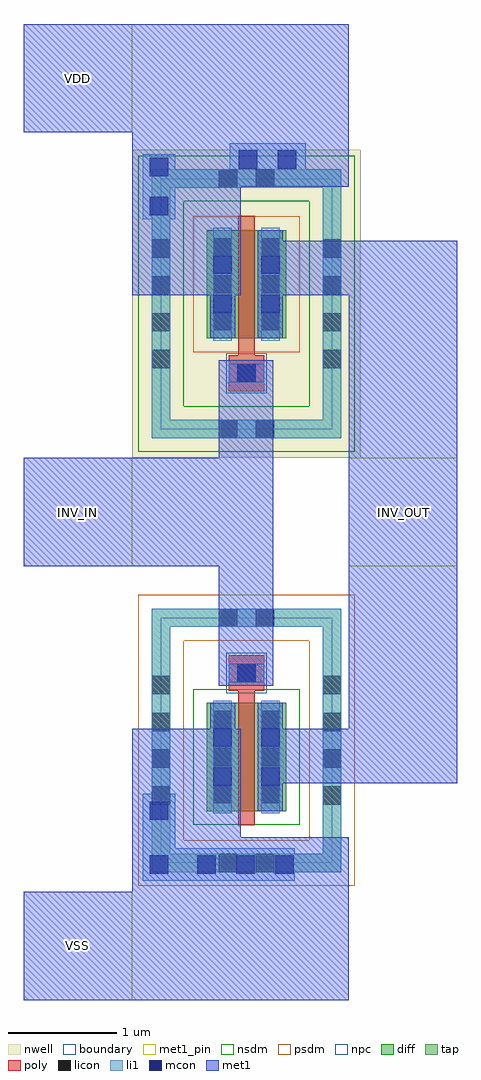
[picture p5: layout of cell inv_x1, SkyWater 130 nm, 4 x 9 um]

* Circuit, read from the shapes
.subckt inv_x1 INV_IN INV_OUT VDD VSS
XM1 INV_OUT INV_IN VSS VSS sky130_fd_pr__nfet_01v8 w=1 l=0.15
XM2 INV_OUT INV_IN VDD VDD sky130_fd_pr__pfet_01v8 w=1 l=0.15
.ends

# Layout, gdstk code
import gdstk
lib = gdstk.Library(unit=1e-6, precision=1e-09)
def R(c, l, rs):  # rectangles x0, y0, x1, y1
    for r in rs: c.add(gdstk.rectangle(r[:2], r[2:], *l))
def A(c, l, x, y, w, h, nx, ny, dx, dy):  # array of equal rectangles
    R(c, l, [(x+i*dx, y+j*dy, x+i*dx+w, y+j*dy+h) for i in range(nx) for j in range(ny)])
nwell = (64, 20)
diff = (65, 20)
tap = (65, 44)
poly = (66, 20)
licon = (66, 44)
li1 = (67, 20)
mcon = (67, 44)
met1_pin = (68, 16)
met1 = (68, 20)
nsdm = (93, 44)
psdm = (94, 20)
npc = (95, 20)
boundary = (235, 4)

sky130_fd_pr__nfet_01v8_ = lib.new_cell('sky130_fd_pr__nfet_01v8_64Z3AY')
R(sky130_fd_pr__nfet_01v8_, diff, [(-0.365,-0.655,0.365,0.345)])
R(sky130_fd_pr__nfet_01v8_, tap, [(-0.875,-1.215,0.875,-1.045), (-0.875,-1.045,-0.705,1.045), (0.705,-1.045,0.875,1.045), (-0.875,1.045,0.875,1.215)])
R(sky130_fd_pr__nfet_01v8_, poly, [(-0.075,-0.785,0.075,0.455), (-0.165,0.455,0.165,0.785)])
A(sky130_fd_pr__nfet_01v8_, licon, -0.875, -0.595, 0.17, 0.17, 1, 4, 0, 0.34)
A(sky130_fd_pr__nfet_01v8_, licon, 0.705, -0.595, 0.17, 0.17, 1, 4, 0, 0.34)
A(sky130_fd_pr__nfet_01v8_, licon, -0.305, -0.58, 0.17, 0.17, 1, 3, 0, 0.34)
A(sky130_fd_pr__nfet_01v8_, licon, 0.135, -0.58, 0.17, 0.17, 1, 3, 0, 0.34)
R(sky130_fd_pr__nfet_01v8_, licon, [(-0.255,-1.215,-0.085,-1.045), (0.085,-1.215,0.255,-1.045), (-0.085,0.535,0.085,0.705), (-0.255,1.045,-0.085,1.215), (0.085,1.045,0.255,1.215)])
R(sky130_fd_pr__nfet_01v8_, li1, [(-0.875,-1.215,0.875,-1.045), (-0.875,-1.045,-0.705,1.045), (0.705,-1.045,0.875,1.045), (-0.305,-0.675,-0.135,0.365), (0.135,-0.675,0.305,0.365), (-0.165,0.535,0.165,0.705), (-0.875,1.045,0.875,1.215)])
R(sky130_fd_pr__nfet_01v8_, mcon, [(-0.305,-0.42,-0.135,-0.25), (0.135,-0.42,0.305,-0.25), (-0.305,-0.06,-0.135,0.11), (0.135,-0.06,0.305,0.11), (-0.085,0.535,0.085,0.705)])
R(sky130_fd_pr__nfet_01v8_, met1, [(-0.335,-0.655,-0.105,0.345), (0.105,-0.655,0.335,0.345), (-0.145,0.505,0.145,0.735)])
R(sky130_fd_pr__nfet_01v8_, nsdm, [(-0.49,-0.78,0.49,0.47)])
R(sky130_fd_pr__nfet_01v8_, psdm, [(-1,-1.34,1,-0.92), (-1,-0.92,-0.58,0.92), (0.58,-0.92,1,0.92), (-1,0.92,1,1.34)])
R(sky130_fd_pr__nfet_01v8_, npc, [(-0.185,0.435,0.185,0.805)])
R(sky130_fd_pr__nfet_01v8_, boundary, [(-0.79,-1.13,0.79,1.13)])

sky130_fd_pr__pfet_01v8_ = lib.new_cell('sky130_fd_pr__pfet_01v8_LGS3BL')
R(sky130_fd_pr__pfet_01v8_, nwell, [(-1.055,-1.42,1.055,1.42)])
R(sky130_fd_pr__pfet_01v8_, diff, [(-0.365,-0.32,0.365,0.68)])
R(sky130_fd_pr__pfet_01v8_, tap, [(-0.875,-1.24,0.875,-1.07), (-0.875,-1.07,-0.705,1.07), (0.705,-1.07,0.875,1.07), (-0.875,1.07,0.875,1.24)])
R(sky130_fd_pr__pfet_01v8_, poly, [(-0.165,-0.805,0.165,-0.475), (-0.075,-0.475,0.075,0.81)])
A(sky130_fd_pr__pfet_01v8_, licon, -0.875, -0.595, 0.17, 0.17, 1, 4, 0, 0.34)
A(sky130_fd_pr__pfet_01v8_, licon, 0.705, -0.595, 0.17, 0.17, 1, 4, 0, 0.34)
A(sky130_fd_pr__pfet_01v8_, licon, -0.305, -0.245, 0.17, 0.17, 1, 3, 0, 0.34)
A(sky130_fd_pr__pfet_01v8_, licon, 0.135, -0.245, 0.17, 0.17, 1, 3, 0, 0.34)
R(sky130_fd_pr__pfet_01v8_, licon, [(-0.255,-1.24,-0.085,-1.07), (0.085,-1.24,0.255,-1.07), (-0.085,-0.725,0.085,-0.555), (-0.255,1.07,-0.085,1.24), (0.085,1.07,0.255,1.24)])
R(sky130_fd_pr__pfet_01v8_, li1, [(-0.875,-1.24,0.875,-1.07), (-0.875,-1.07,-0.705,1.07), (0.705,-1.07,0.875,1.07), (-0.165,-0.725,0.165,-0.555), (-0.305,-0.34,-0.135,0.7), (0.135,-0.34,0.305,0.7), (-0.875,1.07,0.875,1.24)])
R(sky130_fd_pr__pfet_01v8_, mcon, [(-0.085,-0.725,0.085,-0.555), (-0.305,-0.085,-0.135,0.085), (0.135,-0.085,0.305,0.085), (-0.305,0.275,-0.135,0.445), (0.135,0.275,0.305,0.445)])
R(sky130_fd_pr__pfet_01v8_, met1, [(-0.145,-0.755,0.145,-0.525), (-0.335,-0.32,-0.105,0.68), (0.105,-0.32,0.335,0.68)])
R(sky130_fd_pr__pfet_01v8_, nsdm, [(-1,-1.365,1,-0.945), (-1,-0.945,-0.58,0.945), (0.58,-0.945,1,0.945), (-1,0.945,1,1.365)])
R(sky130_fd_pr__pfet_01v8_, psdm, [(-0.49,-0.445,0.49,0.805)])
R(sky130_fd_pr__pfet_01v8_, npc, [(-0.185,-0.825,0.185,-0.455)])
R(sky130_fd_pr__pfet_01v8_, boundary, [(-0.79,-1.155,0.79,1.155)])

inv_x1 = lib.new_cell('inv_x1')
R(inv_x1, li1, [(2.1,-5.9,3.5,-5.6), (2.1,-5.6,2.4,-5.1), (2.1,0.2,2.4,0.8), (2.9,0.6,3.6,0.9)])
A(inv_x1, mcon, 2.6, -5.835, 0.17, 0.17, 3, 1, 0.36, 0)
R(inv_x1, mcon, [(2.165,-5.835,2.335,-5.665), (2.165,-5.34,2.335,-5.17), (2.165,0.235,2.335,0.405), (2.165,0.595,2.335,0.765), (2.985,0.665,3.155,0.835), (3.345,0.665,3.515,0.835)])
A(inv_x1, met1_pin, 1, -7, 1, 1, 1, 3, 0, 4)
R(inv_x1, met1_pin, [(4,-3,5,-2)])
R(inv_x1, met1, [(1,-7,4,-6), (2,-6,4,-5.5), (2,-5.5,3,-4.5), (3.2,-5,5,-4.5), (4,-4.5,5,-0.5), (2.8,-4.1,3.3,-3), (1,-3,3.3,-2), (2.8,-2,3.3,-1.1), (2,-0.5,3,0.5), (3.2,-0.5,5,0), (2,0.5,4,1), (1,1,4,2)])
inv_x1.add(gdstk.Reference(sky130_fd_pr__nfet_01v8_, (3.055,-4.605)))
inv_x1.add(gdstk.Reference(sky130_fd_pr__pfet_01v8_, (3.055,-0.58)))
inv_x1.add(gdstk.Label('VDD', (1.5,1.5), layer=68, texttype=5))
inv_x1.add(gdstk.Label('VSS', (1.5,-6.5), layer=68, texttype=5))
inv_x1.add(gdstk.Label('INV_OUT', (4.5,-2.5), layer=68, texttype=5))
inv_x1.add(gdstk.Label('INV_IN', (1.5,-2.5), layer=68, texttype=5))

lib.write_gds('inv_x1.gds')
